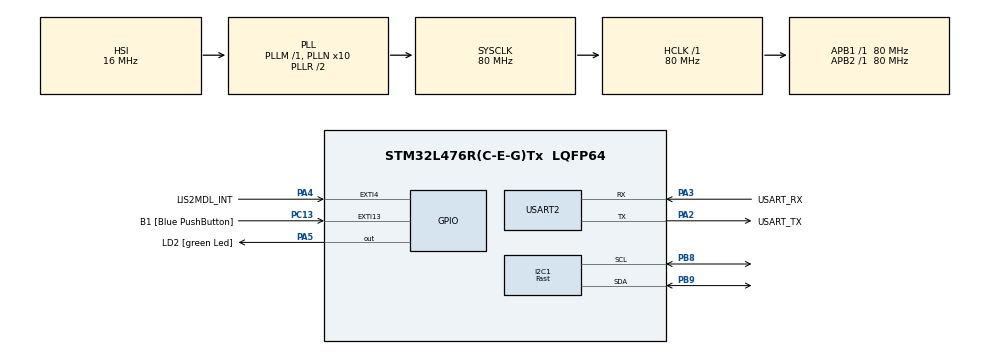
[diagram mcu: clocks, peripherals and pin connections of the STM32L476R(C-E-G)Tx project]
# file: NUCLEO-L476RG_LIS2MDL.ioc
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I2C1.I2C_Speed_Mode=I2C_Fast
I2C1.Timing=0x00702991
Mcu.Family=STM32L4
Mcu.Name=STM32L476R(C-E-G)Tx
Mcu.Package=LQFP64
NVIC.EXTI4_IRQn=true\:0\:0\:false\:false\:true\:true\:true\:true
NVIC.PriorityGroup=NVIC_PRIORITYGROUP_4
PA2.GPIO_Label=USART_TX
PA2.GPIO_Mode=GPIO_MODE_AF_PP
PA2.GPIO_PuPd=GPIO_NOPULL
PA2.GPIO_Speed=GPIO_SPEED_FREQ_VERY_HIGH
PA2.Mode=Asynchronous
PA2.Signal=USART2_TX
PA3.GPIO_Label=USART_RX
PA3.GPIO_Mode=GPIO_MODE_AF_PP
PA3.GPIO_PuPd=GPIO_NOPULL
PA3.GPIO_Speed=GPIO_SPEED_FREQ_VERY_HIGH
PA3.Mode=Asynchronous
PA3.Signal=USART2_RX
PA4.GPIO_Label=LIS2MDL_INT
PA4.Signal=GPXTI4
PA5.GPIO_Label=LD2 [green Led]
PA5.GPIO_ModeDefaultOutputPP=GPIO_MODE_OUTPUT_PP
PA5.GPIO_PuPd=GPIO_NOPULL
PA5.GPIO_Speed=GPIO_SPEED_FREQ_LOW
PA5.Signal=GPIO_Output
PB8.Mode=I2C
PB8.Signal=I2C1_SCL
PB9.Mode=I2C
PB9.Signal=I2C1_SDA
PC13.GPIO_Label=B1 [Blue PushButton]
PC13.GPIO_ModeDefaultEXTI=GPIO_MODE_IT_FALLING
PC13.GPIO_PuPd=GPIO_NOPULL
PC13.Signal=GPXTI13
ProjectManager.HeapSize=0x200
ProjectManager.StackSize=0x400
ProjectManager.TargetToolchain=STM32CubeIDE
RCC.ADCFreq_Value=64000000
RCC.AHBFreq_Value=80000000
RCC.APB1Freq_Value=80000000
RCC.APB1TimFreq_Value=80000000
RCC.APB2Freq_Value=80000000
RCC.APB2TimFreq_Value=80000000
RCC.CortexFreq_Value=80000000
RCC.HCLKFreq_Value=80000000
RCC.HSE_VALUE=8000000
RCC.HSI_VALUE=16000000
RCC.LSE_VALUE=32768
RCC.MSI_VALUE=4000000
RCC.PLLN=10
RCC.PLLSourceVirtual=RCC_PLLSOURCE_HSI
RCC.PREFETCH_ENABLE=1
RCC.SYSCLKFreq_VALUE=80000000
RCC.SYSCLKSource=RCC_SYSCLKSOURCE_PLLCLK
RCC.USBFreq_Value=64000000
RCC.VCOOutputFreq_Value=160000000
USART2.VirtualMode-Asynchronous=VM_ASYNC
board=NUCLEO-L476RG

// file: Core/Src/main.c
/* USER CODE BEGIN Header */
/**
  ******************************************************************************
  * @file           : main.c
  * @brief          : Main program body
  ******************************************************************************
  * @attention
  *
  * Copyright (c) 2022 STMicroelectronics.
  * All rights reserved.
  *
  * This software is licensed under terms that can be found in the LICENSE file
  * in the root directory of this software component.
  * If no LICENSE file comes with this software, it is provided AS-IS.
  *
  ******************************************************************************
  */
/* USER CODE END Header */
#include "main.h"

/* USER CODE BEGIN Includes */
#include <string.h>
#include <stdio.h>
#include "lis2mdl_reg.h"
#include <cycle_dwt.h>
#include "NanoEdgeAI.h"

/* USER CODE END Includes */

/* USER CODE BEGIN PD */
/************************************************************ NEAI algorithm defines begin ************************************************************/
/************************************************************ Global settings part ************************************************************/
#ifndef AXIS
  #define AXIS              3                   /* Axis should be defined between 1 and 3 */
#endif
#ifndef SAMPLES
  #define SAMPLES           128                 /* Should be between 16 & 4096 */
#endif
/************************************************************ Sensors configuration part ************************************************************/
#ifndef MAGNETOMETER_ODR
  #define MAGNETOMETER_ODR  LIS2MDL_ODR_100Hz   /* Shoud be between LIS2MDL_ODR_10Hz and LIS2MDL_ODR_100Hz */
#endif
/************************************************************ Datalogger / NEAI mode part ************************************************************/
#ifndef NEAI_MODE
  #define NEAI_MODE         0                   /* 0: Datalogger mode, 1: NEAI functions mode */
#endif
#if (NEAI_MODE == 1)
  #ifndef NEAI_LEARN_NB
    #define NEAI_LEARN_NB   20                  /* Number of buffers to be learn by the NEAI library */
  #endif
#endif
/************************************************************ NEAI algorithm defines end ************************************************************/
/* USER CODE END PD */

I2C_HandleTypeDef hi2c1;

UART_HandleTypeDef huart2;

/* USER CODE BEGIN PV */
static int16_t data_raw_magnetic[3];
static uint8_t whoamI, rst;
uint8_t neai_similarity = 0, neai_state = 0;
volatile uint8_t drdy = 0;
uint16_t neai_cnt = 0, drdy_counter = 0;
float neai_time = 0.0;
float neai_buffer[AXIS * SAMPLES] = {0};
stmdev_ctx_t dev_ctx;

/* USER CODE END PV */

void SystemClock_Config(void);
static void MX_GPIO_Init(void);
static void MX_I2C1_Init(void);
static void MX_USART2_UART_Init(void);
/* USER CODE BEGIN PFP */
static int32_t platform_write(void *handle, uint8_t reg, const uint8_t *bufp, uint16_t len);
static int32_t platform_read(void *handle, uint8_t reg, uint8_t *bufp, uint16_t len);
static void lis2mdl_initialize(void);
static void iks01a3_i2c_stuck_quirk(void);

/* USER CODE END PFP */

int main(void)
{
  /* USER CODE BEGIN 1 */
  /* Initialize mems driver interface */
  dev_ctx.write_reg = platform_write;
  dev_ctx.read_reg = platform_read;
  dev_ctx.handle = &hi2c1;
  /* USER CODE END 1 */

  /* MCU Configuration--------------------------------------------------------*/

  /* Reset of all peripherals, Initializes the Flash interface and the Systick. */
  HAL_Init();

  /* Configure the system clock */
  SystemClock_Config();

  /* USER CODE BEGIN SysInit */
  iks01a3_i2c_stuck_quirk();
  /* USER CODE END SysInit */

  /* Initialize all configured peripherals */
  MX_GPIO_Init();
  MX_I2C1_Init();
  MX_USART2_UART_Init();
  /* USER CODE BEGIN 2 */
  KIN1_InitCycleCounter();
  KIN1_EnableCycleCounter();
  lis2mdl_initialize();
  if (NEAI_MODE) {
    neai_state = neai_anomalydetection_init();
    printf("Initialize NEAI library. NEAI init return: %d.\n",  neai_state);
  }
  /* USER CODE END 2 */

  /* Infinite loop */
  /* USER CODE BEGIN WHILE */
  while (1)
  {
    if (drdy) {
      /* Reset data ready condition */
      drdy = 0;
      /* Read magnetic field data */
      memset(data_raw_magnetic, 0x00, 3 * sizeof(int16_t));
      lis2mdl_magnetic_raw_get(&dev_ctx, data_raw_magnetic);
      for (uint8_t i = 0; i < AXIS; i++) {
        neai_buffer[(AXIS * drdy_counter) + i] = lis2mdl_from_lsb_to_mgauss(data_raw_magnetic[i]);
      }
      drdy_counter++;
      if (drdy_counter >= SAMPLES) {
        /* Set device in power down mode */
        lis2mdl_operating_mode_set(&dev_ctx, LIS2MDL_POWER_DOWN);
#if NEAI_MODE
        uint32_t cycles_cnt = 0;
        if (neai_cnt < NEAI_LEARN_NB) {
          neai_cnt++;
          KIN1_ResetCycleCounter();
          neai_state = neai_anomalydetection_learn(neai_buffer);
          cycles_cnt = KIN1_GetCycleCounter();
          neai_time = (cycles_cnt * 1000000.0) / HAL_RCC_GetSysClockFreq();
          printf("Learn: %d / %d. NEAI learn return: %d. Cycles counter: %ld = %.1f µs at %ld Hz.\n",
                neai_cnt, NEAI_LEARN_NB, neai_state, cycles_cnt, neai_time, HAL_RCC_GetSysClockFreq());
        }
        else {
          KIN1_ResetCycleCounter();
          neai_state = neai_anomalydetection_detect(neai_buffer, &neai_similarity);
          cycles_cnt = KIN1_GetCycleCounter();
          neai_time = (cycles_cnt * 1000000.0) / HAL_RCC_GetSysClockFreq();
          printf("Similarity: %d / 100. NEAI detect return: %d. Cycles counter: %ld = %.1f µs at %ld Hz.\n",
                neai_similarity, neai_state, cycles_cnt, neai_time, HAL_RCC_GetSysClockFreq());
        }
#else
        for (uint16_t i = 0; i < AXIS * SAMPLES; i++) {
          printf("%.3f ", neai_buffer[i]);
        }
        printf("\n");
#endif
        /* Reset drdy_counter in order to get a new buffer */
        drdy_counter = 0;
        /* Clean neai buffer */
        memset(neai_buffer, 0x00, AXIS * SAMPLES * sizeof(float));
        /* Set device in continuous mode */
        lis2mdl_operating_mode_set(&dev_ctx, LIS2MDL_CONTINUOUS_MODE);
        HAL_Delay(20);
      }
    }
    /* USER CODE END WHILE */

  }
}

void SystemClock_Config(void)
{
  RCC_OscInitTypeDef RCC_OscInitStruct = {0};
  RCC_ClkInitTypeDef RCC_ClkInitStruct = {0};

  /** Configure the main internal regulator output voltage
  */
  if (HAL_PWREx_ControlVoltageScaling(PWR_REGULATOR_VOLTAGE_SCALE1) != HAL_OK)
  {
    Error_Handler();
  }

  /** Initializes the RCC Oscillators according to the specified parameters
  * in the RCC_OscInitTypeDef structure.
  */
  RCC_OscInitStruct.OscillatorType = RCC_OSCILLATORTYPE_HSI;
  RCC_OscInitStruct.HSIState = RCC_HSI_ON;
  RCC_OscInitStruct.HSICalibrationValue = RCC_HSICALIBRATION_DEFAULT;
  RCC_OscInitStruct.PLL.PLLState = RCC_PLL_ON;
  RCC_OscInitStruct.PLL.PLLSource = RCC_PLLSOURCE_HSI;
  RCC_OscInitStruct.PLL.PLLM = 1;
  RCC_OscInitStruct.PLL.PLLN = 10;
  RCC_OscInitStruct.PLL.PLLP = RCC_PLLP_DIV7;
  RCC_OscInitStruct.PLL.PLLQ = RCC_PLLQ_DIV2;
  RCC_OscInitStruct.PLL.PLLR = RCC_PLLR_DIV2;
  if (HAL_RCC_OscConfig(&RCC_OscInitStruct) != HAL_OK)
  {
    Error_Handler();
  }

  /** Initializes the CPU, AHB and APB buses clocks
  */
  RCC_ClkInitStruct.ClockType = RCC_CLOCKTYPE_HCLK|RCC_CLOCKTYPE_SYSCLK
                              |RCC_CLOCKTYPE_PCLK1|RCC_CLOCKTYPE_PCLK2;
  RCC_ClkInitStruct.SYSCLKSource = RCC_SYSCLKSOURCE_PLLCLK;
  RCC_ClkInitStruct.AHBCLKDivider = RCC_SYSCLK_DIV1;
  RCC_ClkInitStruct.APB1CLKDivider = RCC_HCLK_DIV1;
  RCC_ClkInitStruct.APB2CLKDivider = RCC_HCLK_DIV1;

  if (HAL_RCC_ClockConfig(&RCC_ClkInitStruct, FLASH_LATENCY_4) != HAL_OK)
  {
    Error_Handler();
  }
}

static void MX_I2C1_Init(void)
{

  hi2c1.Instance = I2C1;
  hi2c1.Init.Timing = 0x00702991;
  hi2c1.Init.OwnAddress1 = 0;
  hi2c1.Init.AddressingMode = I2C_ADDRESSINGMODE_7BIT;
  hi2c1.Init.DualAddressMode = I2C_DUALADDRESS_DISABLE;
  hi2c1.Init.OwnAddress2 = 0;
  hi2c1.Init.OwnAddress2Masks = I2C_OA2_NOMASK;
  hi2c1.Init.GeneralCallMode = I2C_GENERALCALL_DISABLE;
  hi2c1.Init.NoStretchMode = I2C_NOSTRETCH_DISABLE;
  if (HAL_I2C_Init(&hi2c1) != HAL_OK)
  {
    Error_Handler();
  }

  /** Configure Analogue filter
  */
  if (HAL_I2CEx_ConfigAnalogFilter(&hi2c1, I2C_ANALOGFILTER_ENABLE) != HAL_OK)
  {
    Error_Handler();
  }

  /** Configure Digital filter
  */
  if (HAL_I2CEx_ConfigDigitalFilter(&hi2c1, 0) != HAL_OK)
  {
    Error_Handler();
  }

}

static void MX_USART2_UART_Init(void)
{

  huart2.Instance = USART2;
  huart2.Init.BaudRate = 115200;
  huart2.Init.WordLength = UART_WORDLENGTH_8B;
  huart2.Init.StopBits = UART_STOPBITS_1;
  huart2.Init.Parity = UART_PARITY_NONE;
  huart2.Init.Mode = UART_MODE_TX_RX;
  huart2.Init.HwFlowCtl = UART_HWCONTROL_NONE;
  huart2.Init.OverSampling = UART_OVERSAMPLING_16;
  huart2.Init.OneBitSampling = UART_ONE_BIT_SAMPLE_DISABLE;
  huart2.AdvancedInit.AdvFeatureInit = UART_ADVFEATURE_NO_INIT;
  if (HAL_UART_Init(&huart2) != HAL_OK)
  {
    Error_Handler();
  }

}

static void MX_GPIO_Init(void)
{
  GPIO_InitTypeDef GPIO_InitStruct = {0};

  /* GPIO Ports Clock Enable */
  __HAL_RCC_GPIOC_CLK_ENABLE();
  __HAL_RCC_GPIOA_CLK_ENABLE();
  __HAL_RCC_GPIOB_CLK_ENABLE();

  /*Configure GPIO pin Output Level */
  HAL_GPIO_WritePin(LD2_GPIO_Port, LD2_Pin, GPIO_PIN_RESET);

  /*Configure GPIO pin : B1_Pin */
  GPIO_InitStruct.Pin = B1_Pin;
  GPIO_InitStruct.Mode = GPIO_MODE_IT_FALLING;
  GPIO_InitStruct.Pull = GPIO_NOPULL;
  HAL_GPIO_Init(B1_GPIO_Port, &GPIO_InitStruct);

  /*Configure GPIO pin : LIS2MDL_INT_Pin */
  GPIO_InitStruct.Pin = LIS2MDL_INT_Pin;
  GPIO_InitStruct.Mode = GPIO_MODE_IT_RISING;
  GPIO_InitStruct.Pull = GPIO_NOPULL;
  HAL_GPIO_Init(LIS2MDL_INT_GPIO_Port, &GPIO_InitStruct);

  /*Configure GPIO pin : LD2_Pin */
  GPIO_InitStruct.Pin = LD2_Pin;
  GPIO_InitStruct.Mode = GPIO_MODE_OUTPUT_PP;
  GPIO_InitStruct.Pull = GPIO_NOPULL;
  GPIO_InitStruct.Speed = GPIO_SPEED_FREQ_LOW;
  HAL_GPIO_Init(LD2_GPIO_Port, &GPIO_InitStruct);

  /* EXTI interrupt init*/
  HAL_NVIC_SetPriority(EXTI4_IRQn, 0, 0);
  HAL_NVIC_EnableIRQ(EXTI4_IRQn);

}

/* USER CODE BEGIN 4 */
/**
  * @brief  Redirecting stdout to USART2 which is connected on the STLINK port
  * @retval
  * @param
  */
int __io_putchar(int ch)
{
 uint8_t c[1];
 c[0] = ch & 0x00FF;
 HAL_UART_Transmit(&huart2, &*c, 1, 10);
 return ch;
}

/**
  * @brief  EXTI line rising detection callback.
  * @param  GPIO_Pin Specifies the port pin connected to corresponding EXTI line.
  * @retval None
  */
void HAL_GPIO_EXTI_Callback(uint16_t GPIO_Pin)
{
  switch(GPIO_Pin) {
  case LIS2MDL_INT_Pin:
    drdy = 1;
    break;
  }
}

/*
 * @brief  Write generic device register (platform dependent)
 *
 * @param  handle    customizable argument. In this examples is used in
 *                   order to select the correct sensor bus handler.
 * @param  reg       register to write
 * @param  bufp      pointer to data to write in register reg
 * @param  len       number of consecutive register to write
 *
 */
static int32_t platform_write(void *handle, uint8_t reg, const uint8_t *bufp, uint16_t len)
{
  HAL_I2C_Mem_Write(handle, LIS2MDL_I2C_ADD, reg, I2C_MEMADD_SIZE_8BIT, (uint8_t*) bufp, len, 1000);
  return 0;
}

/*
 * @brief  Read generic device register (platform dependent)
 *
 * @param  handle    customizable argument. In this examples is used in
 *                   order to select the correct sensor bus handler.
 * @param  reg       register to read
 * @param  bufp      pointer to buffer that store the data read
 * @param  len       number of consecutive register to read
 *
 */
static int32_t platform_read(void *handle, uint8_t reg, uint8_t *bufp, uint16_t len)
{
  HAL_I2C_Mem_Read(handle, LIS2MDL_I2C_ADD, reg, I2C_MEMADD_SIZE_8BIT, bufp, len, 1000);
  return 0;
}

/*
 * @brief  Initialize LIS2MDL sensor interface
 *
 * @param  No
 *
 * @return No
 *
 */
static void lis2mdl_initialize()
{
  /* Check device ID */
  whoamI = 0;

  do {
    HAL_Delay(20);
    lis2mdl_device_id_get(&dev_ctx, &whoamI);
  } while(whoamI != LIS2MDL_ID);

  /* Restore default configuration */
  lis2mdl_reset_set(&dev_ctx, PROPERTY_ENABLE);

  do {
    lis2mdl_reset_get(&dev_ctx, &rst);
  } while (rst);

  /* Enable Block Data Update */
  lis2mdl_block_data_update_set(&dev_ctx, PROPERTY_ENABLE);
  /* Set Output Data Rate */
  lis2mdl_data_rate_set(&dev_ctx, MAGNETOMETER_ODR);
  /* Set / Reset sensor mode */
  lis2mdl_set_rst_mode_set(&dev_ctx, LIS2MDL_SENS_OFF_CANC_EVERY_ODR);
  /* Enable temperature compensation */
  lis2mdl_offset_temp_comp_set(&dev_ctx, PROPERTY_ENABLE);
  /* Set device in continuous mode */
  lis2mdl_operating_mode_set(&dev_ctx, LIS2MDL_CONTINUOUS_MODE);
  /* Enable interrupt generation on new data ready */
  lis2mdl_drdy_on_pin_set(&dev_ctx, PROPERTY_ENABLE);
}

/*
 * Pressing the reset button while the sensor is answering to a read request
 * might lead to disaster.
 * In this case the device is stuck, waiting for pulses on SCL to finish the
 * previous transfer.
 * While stuck the sensor keep the SDA low.
 *
 * As a workaround we simply configure the SCL pin as a GPIO and send a burst
 * of pulses to bring the sensor back to an idle state.
 */
static void iks01a3_i2c_stuck_quirk(void)
{
  GPIO_InitTypeDef GPIO_InitStruct = {0};

  /* GPIO Ports Clock Enable */
  __HAL_RCC_GPIOB_CLK_ENABLE();

  /* Configure SCL as a GPIO */
  GPIO_InitStruct.Pin = SCL_PIN;
  GPIO_InitStruct.Mode = GPIO_MODE_OUTPUT_PP;
  GPIO_InitStruct.Pull = GPIO_NOPULL;
  GPIO_InitStruct.Speed = GPIO_SPEED_FREQ_LOW;
  GPIO_InitStruct.Alternate = GPIO_AF4_I2C1;
  HAL_GPIO_Init(SCL_PORT, &GPIO_InitStruct);

  /* Send a burst of pulses on SCL */
  int pulses = 20;
  do {
    HAL_Delay(1);
    HAL_GPIO_WritePin(SCL_PORT, SCL_PIN, GPIO_PIN_RESET);
    HAL_Delay(1);
    HAL_GPIO_WritePin(SCL_PORT, SCL_PIN, GPIO_PIN_SET);
  } while (pulses--);

  /* GPIO Ports Clock Enable */
  __HAL_RCC_GPIOB_CLK_DISABLE();
}

/* USER CODE END 4 */

void Error_Handler(void)
{
  __disable_irq();
  while (1)
  {
  }
}
